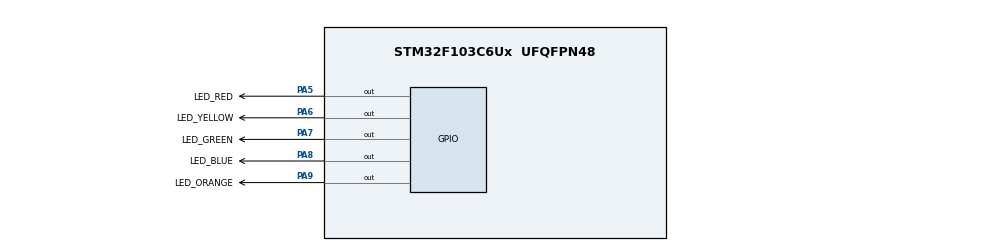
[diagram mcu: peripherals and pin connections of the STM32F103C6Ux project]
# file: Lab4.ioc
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Mcu.Family=STM32F1
Mcu.Name=STM32F103C6Ux
Mcu.Package=UFQFPN48
NVIC.PriorityGroup=NVIC_PRIORITYGROUP_4
NVIC.TIM2_IRQn=true\:0\:0\:false\:false\:true\:true\:true
PA5.GPIO_Label=LED_RED
PA5.Signal=GPIO_Output
PA6.GPIO_Label=LED_YELLOW
PA6.Signal=GPIO_Output
PA7.GPIO_Label=LED_GREEN
PA7.Signal=GPIO_Output
PA8.GPIO_Label=LED_BLUE
PA8.Signal=GPIO_Output
PA9.GPIO_Label=LED_ORANGE
PA9.Signal=GPIO_Output
ProjectManager.HeapSize=0x200
ProjectManager.StackSize=0x400
ProjectManager.TargetToolchain=STM32CubeIDE
RCC.APB1Freq_Value=8000000
RCC.APB2Freq_Value=8000000
TIM2.Period=9
TIM2.Prescaler=7999
VP_SYS_VS_ND.Mode=No_Debug
VP_TIM2_VS_ClockSourceINT.Mode=Internal
board=custom

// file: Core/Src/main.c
/* USER CODE BEGIN Header */
/**
  ******************************************************************************
  * @file           : main.c
  * @brief          : Main program body
  ******************************************************************************
  * @attention
  *
  * <h2><center>&copy; Copyright (c) 2022 STMicroelectronics.
  * All rights reserved.</center></h2>
  *
  * This software component is licensed by ST under BSD 3-Clause license,
  * the "License"; You may not use this file except in compliance with the
  * License. You may obtain a copy of the License at:
  *                        opensource.org/licenses/BSD-3-Clause
  *
  ******************************************************************************
  */
/* USER CODE END Header */
#include "main.h"

/* USER CODE BEGIN Includes */
#include "scheduler.h"
/* USER CODE END Includes */

TIM_HandleTypeDef htim2;

void SystemClock_Config(void);
static void MX_GPIO_Init(void);
static void MX_TIM2_Init(void);

/* USER CODE BEGIN 0 */
void ledredtest(void){
	HAL_GPIO_TogglePin(LED_RED_GPIO_Port, LED_RED_Pin);
}

void ledyellowtest(void){
	HAL_GPIO_TogglePin(LED_YELLOW_GPIO_Port, LED_YELLOW_Pin);
}

void ledgreentest(void){
	HAL_GPIO_TogglePin(LED_GREEN_GPIO_Port, LED_GREEN_Pin);
}

void ledbluetest(void){
	HAL_GPIO_TogglePin(LED_BLUE_GPIO_Port, LED_BLUE_Pin);
}

void ledorangetest(void){
	HAL_GPIO_TogglePin(LED_ORANGE_GPIO_Port, LED_ORANGE_Pin);
}
/* USER CODE END 0 */

int main(void)
{

  /* MCU Configuration--------------------------------------------------------*/

  /* Reset of all peripherals, Initializes the Flash interface and the Systick. */
  HAL_Init();

  /* Configure the system clock */
  SystemClock_Config();

  /* Initialize all configured peripherals */
  MX_GPIO_Init();
  MX_TIM2_Init();
  /* USER CODE BEGIN 2 */
  HAL_TIM_Base_Start_IT(&htim2);
  /* USER CODE END 2 */

  /* Infinite loop */
  /* USER CODE BEGIN WHILE */
  HAL_GPIO_WritePin(LED_RED_GPIO_Port, LED_RED_Pin, SET);
  HAL_GPIO_WritePin(LED_YELLOW_GPIO_Port, LED_YELLOW_Pin, SET);
  HAL_GPIO_WritePin(LED_GREEN_GPIO_Port, LED_GREEN_Pin, SET);
  HAL_GPIO_WritePin(LED_BLUE_GPIO_Port, LED_BLUE_Pin, SET);
  HAL_GPIO_WritePin(LED_ORANGE_GPIO_Port, LED_ORANGE_Pin, SET);
  SCH_Init();
  SCH_Add_Task(ledredtest,100,50);
  SCH_Add_Task(ledyellowtest,100,100);
  SCH_Add_Task(ledgreentest,100,150);
  SCH_Add_Task(ledbluetest,100,200);
  SCH_Add_Task(ledorangetest,100,250);
  while (1)
  {
	  SCH_Dispatch_Tasks();
    /* USER CODE END WHILE */

  }
}

void SystemClock_Config(void)
{
  RCC_OscInitTypeDef RCC_OscInitStruct = {0};
  RCC_ClkInitTypeDef RCC_ClkInitStruct = {0};

  /** Initializes the RCC Oscillators according to the specified parameters
  * in the RCC_OscInitTypeDef structure.
  */
  RCC_OscInitStruct.OscillatorType = RCC_OSCILLATORTYPE_HSI;
  RCC_OscInitStruct.HSIState = RCC_HSI_ON;
  RCC_OscInitStruct.HSICalibrationValue = RCC_HSICALIBRATION_DEFAULT;
  RCC_OscInitStruct.PLL.PLLState = RCC_PLL_NONE;
  if (HAL_RCC_OscConfig(&RCC_OscInitStruct) != HAL_OK)
  {
    Error_Handler();
  }
  /** Initializes the CPU, AHB and APB buses clocks
  */
  RCC_ClkInitStruct.ClockType = RCC_CLOCKTYPE_HCLK|RCC_CLOCKTYPE_SYSCLK
                              |RCC_CLOCKTYPE_PCLK1|RCC_CLOCKTYPE_PCLK2;
  RCC_ClkInitStruct.SYSCLKSource = RCC_SYSCLKSOURCE_HSI;
  RCC_ClkInitStruct.AHBCLKDivider = RCC_SYSCLK_DIV1;
  RCC_ClkInitStruct.APB1CLKDivider = RCC_HCLK_DIV1;
  RCC_ClkInitStruct.APB2CLKDivider = RCC_HCLK_DIV1;

  if (HAL_RCC_ClockConfig(&RCC_ClkInitStruct, FLASH_LATENCY_0) != HAL_OK)
  {
    Error_Handler();
  }
}

static void MX_TIM2_Init(void)
{

  TIM_ClockConfigTypeDef sClockSourceConfig = {0};
  TIM_MasterConfigTypeDef sMasterConfig = {0};

  htim2.Instance = TIM2;
  htim2.Init.Prescaler = 7999;
  htim2.Init.CounterMode = TIM_COUNTERMODE_UP;
  htim2.Init.Period = 9;
  htim2.Init.ClockDivision = TIM_CLOCKDIVISION_DIV1;
  htim2.Init.AutoReloadPreload = TIM_AUTORELOAD_PRELOAD_DISABLE;
  if (HAL_TIM_Base_Init(&htim2) != HAL_OK)
  {
    Error_Handler();
  }
  sClockSourceConfig.ClockSource = TIM_CLOCKSOURCE_INTERNAL;
  if (HAL_TIM_ConfigClockSource(&htim2, &sClockSourceConfig) != HAL_OK)
  {
    Error_Handler();
  }
  sMasterConfig.MasterOutputTrigger = TIM_TRGO_RESET;
  sMasterConfig.MasterSlaveMode = TIM_MASTERSLAVEMODE_DISABLE;
  if (HAL_TIMEx_MasterConfigSynchronization(&htim2, &sMasterConfig) != HAL_OK)
  {
    Error_Handler();
  }

}

static void MX_GPIO_Init(void)
{
  GPIO_InitTypeDef GPIO_InitStruct = {0};

  /* GPIO Ports Clock Enable */
  __HAL_RCC_GPIOA_CLK_ENABLE();

  /*Configure GPIO pin Output Level */
  HAL_GPIO_WritePin(GPIOA, LED_RED_Pin|LED_YELLOW_Pin|LED_GREEN_Pin|LED_BLUE_Pin
                          |LED_ORANGE_Pin, GPIO_PIN_RESET);

  /*Configure GPIO pins : LED_RED_Pin LED_YELLOW_Pin LED_GREEN_Pin LED_BLUE_Pin
                           LED_ORANGE_Pin */
  GPIO_InitStruct.Pin = LED_RED_Pin|LED_YELLOW_Pin|LED_GREEN_Pin|LED_BLUE_Pin
                          |LED_ORANGE_Pin;
  GPIO_InitStruct.Mode = GPIO_MODE_OUTPUT_PP;
  GPIO_InitStruct.Pull = GPIO_NOPULL;
  GPIO_InitStruct.Speed = GPIO_SPEED_FREQ_LOW;
  HAL_GPIO_Init(GPIOA, &GPIO_InitStruct);

}

/* USER CODE BEGIN 4 */
int counter = 50;
void HAL_TIM_PeriodElapsedCallback(TIM_HandleTypeDef *htim)
{
	counter--;
	SCH_Update();
	if (counter <= 0)
	{
		counter = 50;
	}
}
/* USER CODE END 4 */

void Error_Handler(void)
{
  __disable_irq();
  while (1)
  {
  }
}

/************************ (C) COPYRIGHT STMicroelectronics *****END OF FILE****/
